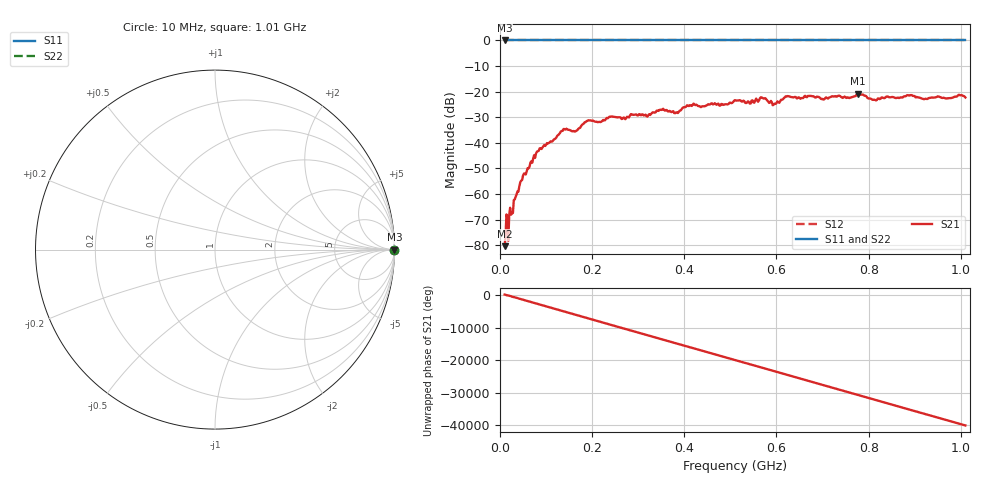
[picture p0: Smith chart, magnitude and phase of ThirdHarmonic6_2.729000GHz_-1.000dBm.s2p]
! 8/17/2025 6:42:11 AM
! C:\ANRITSUVNA\TEMP\TEMP.S2P
! CHANNEL.1
! TR.MEASUREMENT
! RAW.DATA
! RF.CORRECTION.OFF
! AVERAGING.OFF
! IF.BANDWIDTH: 5KHZ
! SWEEPTYPE:  FREQ.SWEEP(Linear)
! Reference Plane Port Info
! PORT:  PORT1  PORT2
! DISTANCE:  0  m  0  m
! TIME:  0  s  0  s
! PHASE.OFFSET:  0  deg.  0  deg.
! LOSS:  0  dB  0  dB
! REF.LOSS:  0  dB  0  dB
! REF.FREQ:  0  Hz  0  Hz
! Power Info
! POWER:  -20  dBm  -20  dBm
! EFF.POWER:  -20  dBm  -20  dBm
! SOURCE.ATTEN:  0  dB  0  dB
! TEST.ATTEN:  0  dB  0  dB
# GHZ S RI R 50.0
! FREQ.GHZ  S11RE  S11IM  S21RE  S21IM  S12RE  S12IM  S22RE  S22IM
!; PortSelection: Port_12
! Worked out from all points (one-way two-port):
!   501 points, 10 MHz to 1.01 GHz, reference 50 ohm
!   highest |S21| = -20.83 dB at 776 MHz (marker M1); lowest = -80.4 dB at 10 MHz (marker M2)
!   lowest |S11| = 0.0 dB at 10 MHz (marker M3)
!   |S11| at or under -10 dB: nowhere
!   |S22| runs from 0.0 to 0.0 dB; largest |S21 - S12| = 1.1
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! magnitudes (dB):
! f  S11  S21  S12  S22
! 10 MHz  0.0  -80.4  0.0  0.0
! 18 MHz  0.0  -78.2  0.0  0.0
! 22 MHz  0.0  -65.4  0.0  0.0
! 34 MHz  0.0  -61.0  0.0  0.0
! 48 MHz  0.0  -54.5  0.0  0.0
! 82 MHz  0.0  -43.3  0.0  0.0
! 136 MHz  0.0  -35.3  0.0  0.0
! 164 MHz  0.0  -35.5  0.0  0.0
! 178 MHz  0.0  -33.0  0.0  0.0
! 192 MHz  0.0  -31.2  0.0  0.0
! 344 MHz  0.0  -27.5  0.0  0.0
! 382 MHz  0.0  -28.1  0.0  0.0
! 410 MHz  0.0  -25.6  0.0  0.0
! 510 MHz  0.0  -23.3  0.0  0.0
! 570 MHz  0.0  -22.5  0.0  0.0
! 596 MHz  0.0  -24.7  0.0  0.0
! 622 MHz  0.0  -21.9  0.0  0.0
! 678 MHz  0.0  -21.8  0.0  0.0
! 776 MHz  0.0  -20.8  0.0  0.0
! 812 MHz  0.0  -23.1  0.0  0.0
! 844 MHz  0.0  -22.2  0.0  0.0
! 1.01 GHz  0.0  -22.3  0.0  0.0
